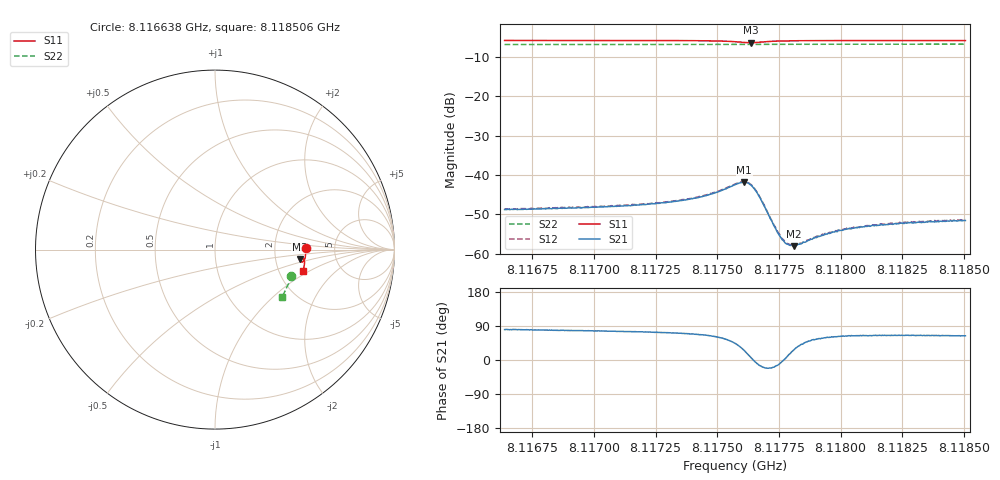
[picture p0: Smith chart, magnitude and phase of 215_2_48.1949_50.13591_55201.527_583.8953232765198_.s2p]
#  HZ  S  RI  R  50.00
! Rohde & Schwarz Vector Network Analyzer
! Rohde-Schwarz,ZNB20-2Port,1311601062101988,3.16
! Created: UTC 3/20/2024, 11:45:42 AM
! freq[Hz]  re:S11  im:S11  re:S21  im:S21  re:S12  im:S12  re:S22  im:S22
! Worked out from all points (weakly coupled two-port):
!   401 points, 8.116638 GHz to 8.118506 GHz, reference 50 ohm
!   highest |S21| = -41.84 dB at 8.117609 GHz (marker M1); lowest = -58.0 dB at 8.11781 GHz (marker M2)
!   lowest |S11| = -6.5 dB at 8.117637 GHz (marker M3), VSWR 2.80, Z = 137 - j19.4 ohm
!   |S11| at or under -10 dB: nowhere
!   |S22| runs from -6.9 to -6.8 dB; largest |S21 - S12| = 0.00021
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8.116638e9  0.5066 0.0108  0.000615 0.0036  0.000659 0.00365  0.4261 -0.1451
8.1169509e9  0.5061 -0.0135  0.000829 0.00375  0.000942 0.00377  0.4194 -0.1658
8.1172638e9  0.5037 -0.039  0.00129 0.00417  0.00137 0.00425  0.4118 -0.1862
8.1174319e9  0.4998 -0.0549  0.00207 0.00485  0.00218 0.00492  0.4069 -0.1973
8.1175019e9  0.4954 -0.0628  0.00301 0.00529  0.00315 0.00534  0.4048 -0.2017
8.117572e9  0.4838 -0.0694  0.00545 0.00523  0.00559 0.00528  0.4023 -0.206
8.1176093e9  0.4736 -0.065  0.00733 0.00342  0.00748 0.0034  0.4009 -0.2081
8.1176233e9  0.4713 -0.0603  0.00765 0.00214  0.00776 0.00209  0.4003 -0.2086
8.1176373e9  0.4711 -0.0548  0.00737 0.000748  0.00753 0.000677  0.3999 -0.2092
8.1176514e9  0.4739 -0.0501  0.00662 -0.000406  0.00672 -0.000491  0.3998 -0.21
8.11767e9  0.4795 -0.0466  0.0052 -0.00127  0.00528 -0.00132  0.3996 -0.2109
8.1177354e9  0.494 -0.0521  0.00205 -0.000602  0.0021 -0.000637  0.3983 -0.2153
8.1177541e9  0.4957 -0.0547  0.00166 -0.000265  0.00173 -0.000297  0.3977 -0.2165
8.1177681e9  0.4967 -0.0568  0.00147 -2.09e-05  0.00151 -4.27e-05  0.3974 -0.2175
8.1177821e9  0.4973 -0.0588  0.00133 0.000192  0.00135 0.000206  0.3969 -0.2185
8.1178101e9  0.4983 -0.0623  0.00112 0.00056  0.00113 0.000547  0.3961 -0.2203
8.1178335e9  0.4986 -0.0651  0.00105 0.000813  0.00108 0.000828  0.3954 -0.2217
8.1178848e9  0.4988 -0.0706  0.000921 0.00123  0.00097 0.00126  0.3937 -0.2251
8.1179456e9  0.4985 -0.0765  0.000893 0.00155  0.000949 0.0016  0.3917 -0.2289
8.1180249e9  0.4978 -0.0837  0.000939 0.00184  0.000961 0.0019  0.3892 -0.2339
8.1181977e9  0.4955 -0.0978  0.00101 0.00216  0.00106 0.00218  0.3831 -0.2444
8.1185059e9  0.4901 -0.1212  0.00117 0.00237  0.00121 0.00244  0.3718 -0.2629
